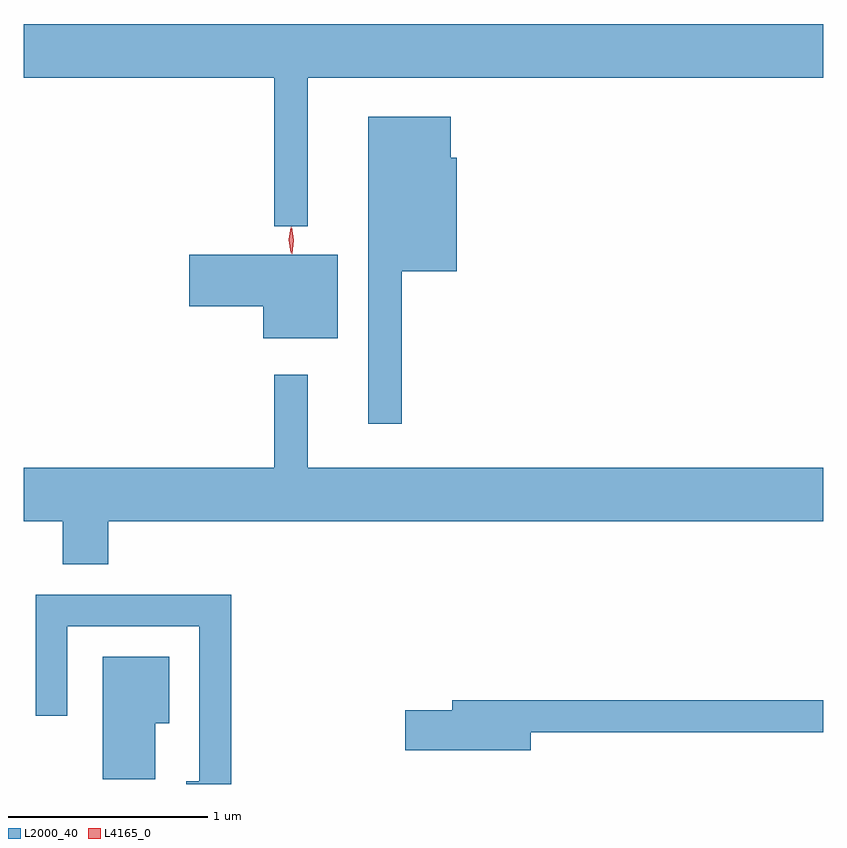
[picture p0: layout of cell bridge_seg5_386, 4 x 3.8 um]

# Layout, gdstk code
import gdstk
lib = gdstk.Library(unit=1e-6, precision=1e-09)
def P(c, l, *ps):  # polygons
    for p in ps: c.add(gdstk.Polygon(p, *l))
L2000_40 = (2000, 40)
L4165_0 = (4165, 0)

bridge_seg5_386 = lib.new_cell('bridge_seg5_386')
P(bridge_seg5_386, L2000_40, [(423.089,1496.756),(425.667,1496.756),(425.667,1497.024),(421.667,1497.024),(421.667,1496.756),(422.921,1496.756),(422.921,1496.013),(423.089,1496.013)],
  [(423.559,1495.786),(423.834,1495.786),(423.834,1496.354),(423.804,1496.354),(423.804,1496.559),(423.391,1496.559),(423.391,1495.023),(423.559,1495.023)],
  [(423.239,1495.869),(422.496,1495.869),(422.496,1495.611),(422.866,1495.611),(422.866,1495.451),(423.239,1495.451)],
  [(422.089,1494.536),(425.667,1494.536),(425.667,1494.804),(423.089,1494.804),(423.089,1495.268),(422.921,1495.268),(422.921,1494.804),(421.667,1494.804),(421.667,1494.536),(421.861,1494.536),(421.861,1494.321),(422.089,1494.321)],
  [(422.704,1494.169),(421.726,1494.169),(421.726,1493.563),(421.884,1493.563),(421.884,1494.011),(422.546,1494.011),(422.546,1493.234),(422.481,1493.234),(422.481,1493.221),(422.704,1493.221)],
  [(422.324,1493.526),(422.394,1493.526),(422.394,1493.859),(422.061,1493.859),(422.061,1493.246),(422.324,1493.246)],
  [(424.204,1493.481),(425.667,1493.481),(425.667,1493.639),(423.811,1493.639),(423.811,1493.589),(423.576,1493.589),(423.576,1493.391),(424.204,1493.391)])
P(bridge_seg5_386, L4165_0, [(423.008,1495.874),(423.008,1495.874),(422.998,1495.942),(423.007,1496.01),(423.008,1496.01),(423.008,1496.01),(423.018,1495.942),(423.009,1495.874)],
  [(423.002,1495.88),(423.002,1495.88),(422.992,1495.944),(423.002,1496.006),(423.002,1496.007),(423.003,1496.006),(423.012,1495.944),(423.003,1495.88)])

lib.write_gds('bridge_seg5_386.gds')
